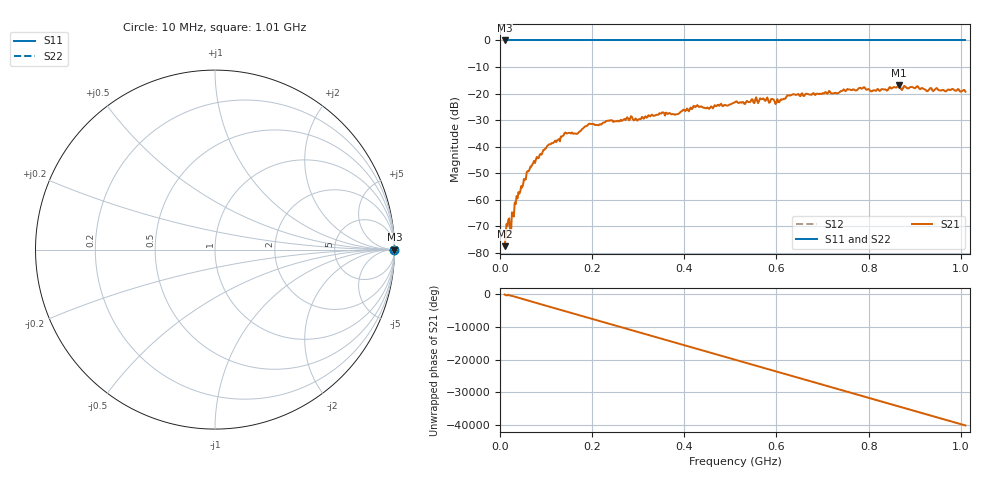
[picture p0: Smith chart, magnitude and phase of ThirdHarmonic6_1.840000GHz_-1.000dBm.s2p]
! 8/16/2025 10:16:41 PM
! C:\ANRITSUVNA\TEMP\TEMP.S2P
! CHANNEL.1
! TR.MEASUREMENT
! RAW.DATA
! RF.CORRECTION.OFF
! AVERAGING.OFF
! IF.BANDWIDTH: 5KHZ
! SWEEPTYPE:  FREQ.SWEEP(Linear)
! Reference Plane Port Info
! PORT:  PORT1  PORT2
! DISTANCE:  0  m  0  m
! TIME:  0  s  0  s
! PHASE.OFFSET:  0  deg.  0  deg.
! LOSS:  0  dB  0  dB
! REF.LOSS:  0  dB  0  dB
! REF.FREQ:  0  Hz  0  Hz
! Power Info
! POWER:  -20  dBm  -20  dBm
! EFF.POWER:  -20  dBm  -20  dBm
! SOURCE.ATTEN:  0  dB  0  dB
! TEST.ATTEN:  0  dB  0  dB
# GHZ S RI R 50.0
! FREQ.GHZ  S11RE  S11IM  S21RE  S21IM  S12RE  S12IM  S22RE  S22IM
!; PortSelection: Port_12
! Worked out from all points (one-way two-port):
!   501 points, 10 MHz to 1.01 GHz, reference 50 ohm
!   highest |S21| = -16.74 dB at 866 MHz (marker M1); lowest = -77.4 dB at 10 MHz (marker M2)
!   lowest |S11| = 0.0 dB at 10 MHz (marker M3)
!   |S11| at or under -10 dB: nowhere
!   |S22| runs from 0.0 to 0.0 dB; largest |S21 - S12| = 1.1
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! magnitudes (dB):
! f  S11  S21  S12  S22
! 10 MHz  0.0  -77.4  0.0  0.0
! 16 MHz  0.0  -69.8  0.0  0.0
! 26 MHz  0.0  -64.7  0.0  0.0
! 36 MHz  0.0  -58.6  0.0  0.0
! 70 MHz  0.0  -46.7  0.0  0.0
! 106 MHz  0.0  -39.1  0.0  0.0
! 144 MHz  0.0  -35.0  0.0  0.0
! 166 MHz  0.0  -35.2  0.0  0.0
! 178 MHz  0.0  -33.3  0.0  0.0
! 196 MHz  0.0  -31.4  0.0  0.0
! 344 MHz  0.0  -27.9  0.0  0.0
! 384 MHz  0.0  -27.8  0.0  0.0
! 424 MHz  0.0  -25.1  0.0  0.0
! 450 MHz  0.0  -25.2  0.0  0.0
! 510 MHz  0.0  -23.2  0.0  0.0
! 568 MHz  0.0  -22.1  0.0  0.0
! 602 MHz  0.0  -22.1  0.0  0.0
! 628 MHz  0.0  -20.7  0.0  0.0
! 678 MHz  0.0  -20.1  0.0  0.0
! 844 MHz  0.0  -18.0  0.0  0.0
! 866 MHz  0.0  -16.7  0.0  0.0
! 1.01 GHz  0.0  -19.3  0.0  0.0
